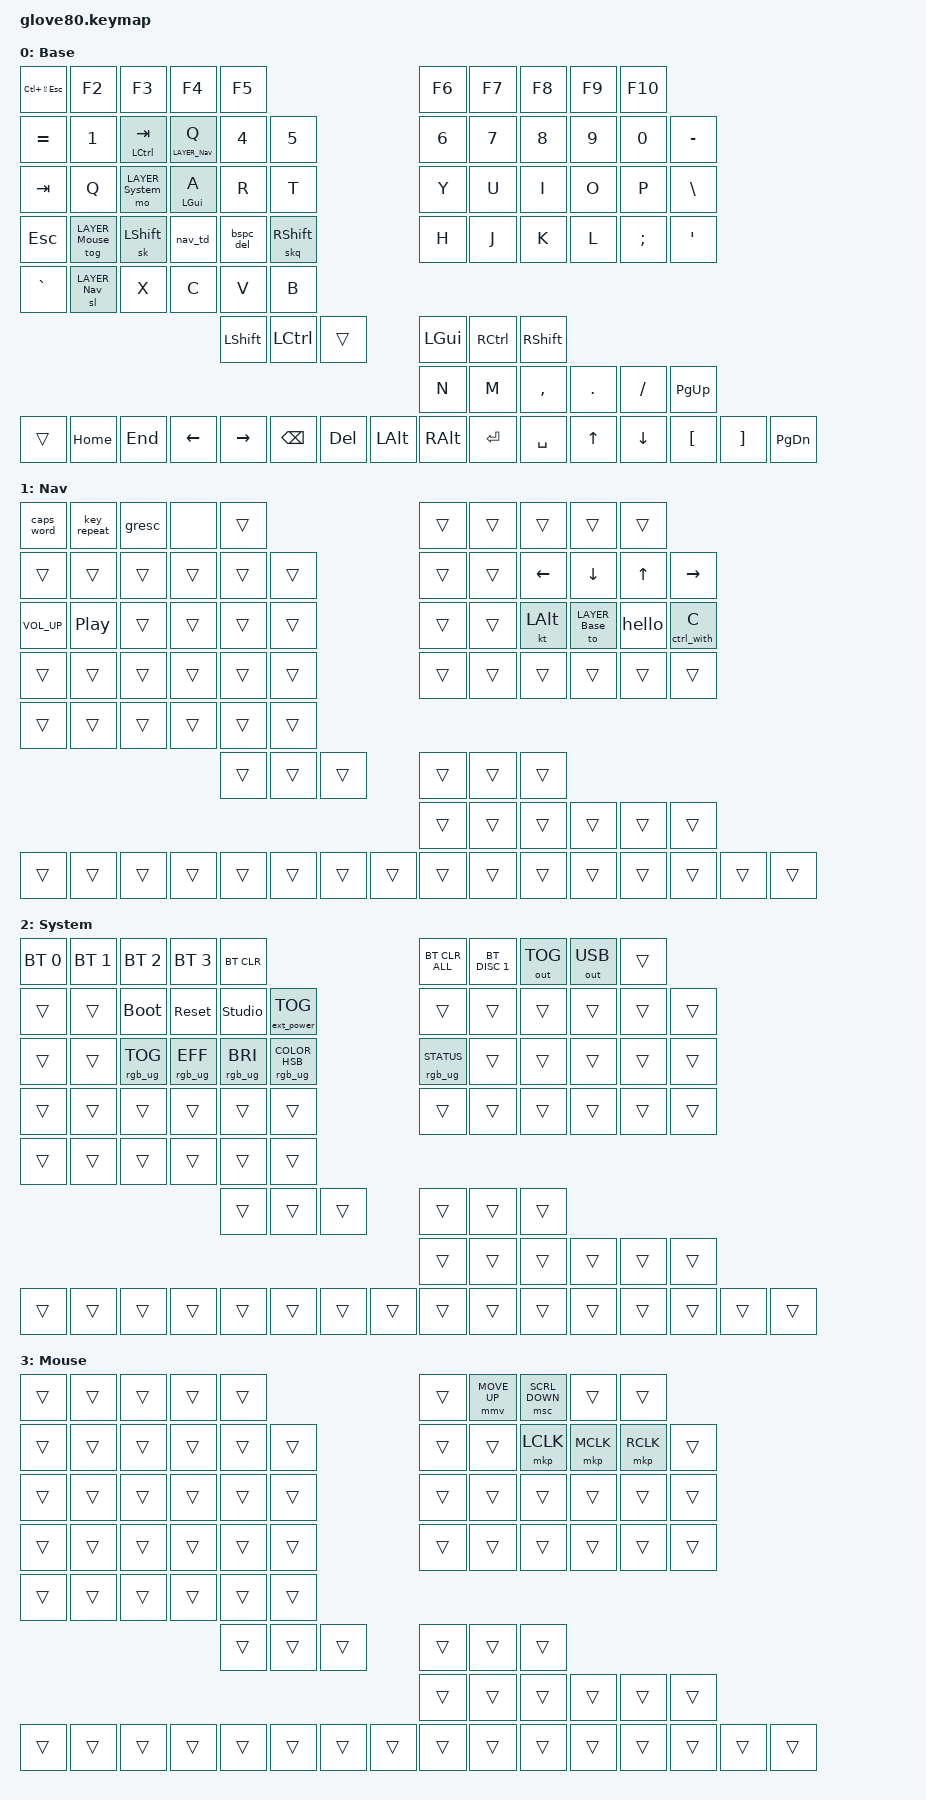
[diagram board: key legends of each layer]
/* Generated by Keyboard Curator. Change the board or the layout there, not this file. */

#include <behaviors.dtsi>
#include <dt-bindings/zmk/keys.h>
#include <dt-bindings/zmk/bt.h>
#include <dt-bindings/zmk/outputs.h>
#include <dt-bindings/zmk/rgb.h>
#include <dt-bindings/zmk/ext_power.h>
#include <dt-bindings/zmk/pointing.h>
#include <input/processors.dtsi>
#include <dt-bindings/zmk/input_transform.h>

#define LAYER_Base 0
#define LAYER_Nav 1
#define LAYER_System 2
#define LAYER_Mouse 3

/ {
    behaviors {
        // Template: Home-row mod
        hml: hml {
            compatible = "zmk,behavior-hold-tap";
            #binding-cells = <2>;
            flavor = "balanced";
            tapping-term-ms = <280>;
            quick-tap-ms = <175>;
            require-prior-idle-ms = <150>;
            hold-trigger-key-positions = <6 7 8 9 10 11>;
            hold-trigger-on-release;
            bindings = <&kp>, <&kp>;
        };
        // Template: Nav tap-dance
        nav_td: nav_td {
            compatible = "zmk,behavior-tap-dance";
            #binding-cells = <0>;
            tapping-term-ms = <200>;
            bindings = <&mo LAYER_Nav>, <&to LAYER_Nav>;
        };
        // Template: Backspace or Delete
        bspc_del: bspc_del {
            compatible = "zmk,behavior-mod-morph";
            #binding-cells = <0>;
            bindings = <&kp BSPC>, <&kp DEL>;
            mods = <(MOD_LSFT|MOD_RSFT)>;
        };
        // Template: Quick sticky key
        skq: skq {
            compatible = "zmk,behavior-sticky-key";
            #binding-cells = <1>;
            bindings = <&kp>;
            release-after-ms = <800>;
            quick-release;
            ignore-modifiers;
        };
    };

    macros {
        // Template: Type Hi
        hello: hello {
            compatible = "zmk,behavior-macro";
            #binding-cells = <0>;
            wait-ms = <30>;
            tap-ms = <30>;
            bindings
                = <&macro_press &kp LSHFT>
                , <&macro_tap &kp H>
                , <&macro_release &kp LSHFT>
                , <&macro_wait_time 50>
                , <&macro_tap &kp I>
                , <&macro_pause_for_release>
                , <&macro_tap &kp EXCL>
                ;
        };
        // Template: Ctrl with a key
        ctrl_with: ctrl_with {
            compatible = "zmk,behavior-macro-one-param";
            #binding-cells = <1>;
            bindings
                = <&macro_press &kp LCTRL>
                , <&macro_param_1to1>
                , <&macro_tap &kp MACRO_PLACEHOLDER>
                , <&macro_release &kp LCTRL>
                ;
        };
    };

    combos {
        compatible = "zmk,combos";
        combo_caps_word_11 {
            timeout-ms = <40>;
            key-positions = <40 43>;
            bindings = <&caps_word>;
            layers = <LAYER_Base LAYER_Nav>;
            require-prior-idle-ms = <100>;
            slow-release;
        };
        combo_escape_12 {
            key-positions = <13 14>;
            bindings = <&kp ESC>;
        };
    };

    conditional_layers {
        compatible = "zmk,conditional-layers";
        rule_0 {
            if-layers = <LAYER_Nav LAYER_Mouse>;
            then-layer = <LAYER_System>;
        };
    };

    keymap {
        compatible = "zmk,keymap";

        layer_0_Base {
            display-name = "Base";
            bindings = <
                &kp LC(LS(ESC))  &kp F2            &kp F3            &kp F4           &kp F5                                            &kp F6    &kp F7     &kp F8     &kp F9    &kp F10
                &kp EQUAL        &kp N1            &mt LCTRL TAB     &lt LAYER_Nav Q  &kp N4     &kp N5                         &kp N6  &kp N7    &kp N8     &kp N9     &kp N0    &kp MINUS
                &kp TAB          &kp Q             &mo LAYER_System  &hml LGUI A      &kp R      &kp T                          &kp Y   &kp U     &kp I      &kp O      &kp P     &kp BSLH
                &kp ESC          &tog LAYER_Mouse  &sk LSHFT         &nav_td          &bspc_del  &skq RSHFT                     &kp H   &kp J     &kp K      &kp L      &kp SEMI  &kp SQT
                &kp GRAVE        &sl LAYER_Nav     &kp X             &kp C            &kp V      &kp B
                                                                                      &kp LSHFT  &kp LCTRL   &trans                     &kp LGUI  &kp RCTRL  &kp RSHFT
                                                                                                                                &kp N   &kp M     &kp COMMA  &kp DOT    &kp FSLH  &kp PG_UP
                &trans           &kp HOME          &kp END           &kp LEFT         &kp RIGHT  &kp BSPC    &kp DEL  &kp LALT          &kp RALT  &kp RET    &kp SPACE  &kp UP    &kp DOWN   &kp LBKT  &kp RBKT  &kp PG_DN
            >;
        };

        layer_1_Nav {
            display-name = "Nav";
            bindings = <
                &caps_word    &key_repeat  &gresc  &none   &trans                                  &trans  &trans    &trans          &trans  &trans
                &trans        &trans       &trans  &trans  &trans  &trans                  &trans  &trans  &kp LEFT  &kp DOWN        &kp UP  &kp RIGHT
                &kp C_VOL_UP  &kp C_PP     &trans  &trans  &trans  &trans                  &trans  &trans  &kt LALT  &to LAYER_Base  &hello  &ctrl_with C
                &trans        &trans       &trans  &trans  &trans  &trans                  &trans  &trans  &trans    &trans          &trans  &trans
                &trans        &trans       &trans  &trans  &trans  &trans
                                                           &trans  &trans  &trans                  &trans  &trans    &trans
                                                                                           &trans  &trans  &trans    &trans          &trans  &trans
                &trans        &trans       &trans  &trans  &trans  &trans  &trans  &trans          &trans  &trans    &trans          &trans  &trans        &trans  &trans  &trans
            >;
        };

        layer_2_System {
            display-name = "System";
            bindings = <
                &bt BT_SEL 0  &bt BT_SEL 1  &bt BT_SEL 2     &bt BT_SEL 3     &bt BT_CLR                                                                              &bt BT_CLR_ALL  &bt BT_DISC 1  &out OUT_TOG  &out OUT_USB  &trans
                &trans        &trans        &bootloader      &sys_reset       &studio_unlock   &ext_power EP_TOG                                  &trans              &trans          &trans         &trans        &trans        &trans
                &trans        &trans        &rgb_ug RGB_TOG  &rgb_ug RGB_EFF  &rgb_ug RGB_BRI  &rgb_ug RGB_COLOR_HSB(120,100,30)                  &rgb_ug RGB_STATUS  &trans          &trans         &trans        &trans        &trans
                &trans        &trans        &trans           &trans           &trans           &trans                                             &trans              &trans          &trans         &trans        &trans        &trans
                &trans        &trans        &trans           &trans           &trans           &trans
                                                                              &trans           &trans                             &trans                              &trans          &trans         &trans
                                                                                                                                                  &trans              &trans          &trans         &trans        &trans        &trans
                &trans        &trans        &trans           &trans           &trans           &trans                             &trans  &trans                      &trans          &trans         &trans        &trans        &trans  &trans  &trans  &trans
            >;
        };

        layer_3_Mouse {
            display-name = "Mouse";
            bindings = <
                &trans  &trans  &trans  &trans  &trans                                  &trans  &mmv MOVE_UP  &msc SCRL_DOWN  &trans     &trans
                &trans  &trans  &trans  &trans  &trans  &trans                  &trans  &trans  &mkp LCLK     &mkp MCLK       &mkp RCLK  &trans
                &trans  &trans  &trans  &trans  &trans  &trans                  &trans  &trans  &trans        &trans          &trans     &trans
                &trans  &trans  &trans  &trans  &trans  &trans                  &trans  &trans  &trans        &trans          &trans     &trans
                &trans  &trans  &trans  &trans  &trans  &trans
                                                &trans  &trans  &trans                  &trans  &trans        &trans
                                                                                &trans  &trans  &trans        &trans          &trans     &trans
                &trans  &trans  &trans  &trans  &trans  &trans  &trans  &trans          &trans  &trans        &trans          &trans     &trans  &trans  &trans  &trans
            >;
        };

        reserved_0 {
            status = "reserved";
        };

        reserved_1 {
            status = "reserved";
        };

        reserved_2 {
            status = "reserved";
        };

        reserved_3 {
            status = "reserved";
        };
    };
};

&mmv_input_listener {
    override_0 {
        layers = <LAYER_Nav>;
        input-processors = <&zip_xy_scaler 1 4>;
    };
};

&msc_input_listener {
    input-processors = <&zip_scroll_scaler 3 2>;
};
